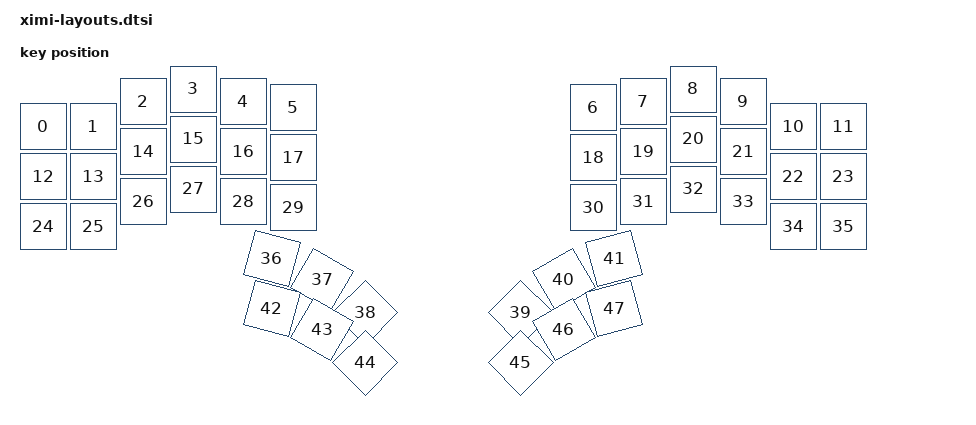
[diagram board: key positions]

#include <physical_layouts.dtsi>

/ {
    ximi_6col_layout: ximi_6col_layout {
        compatible = "zmk,physical-layout";
        display-name = "6 Column";

        keys  //                     w   h    x    y     rot    rx    ry
            = <&key_physical_attrs 100 100    0   75       0     0     0>
            , <&key_physical_attrs 100 100  100   75       0     0     0>
            , <&key_physical_attrs 100 100  200   25       0     0     0>
            , <&key_physical_attrs 100 100  300    0       0     0     0>
            , <&key_physical_attrs 100 100  400   25       0     0     0>
            , <&key_physical_attrs 100 100  500   37       0     0     0>
            , <&key_physical_attrs 100 100 1100   37       0     0     0>
            , <&key_physical_attrs 100 100 1200   25       0     0     0>
            , <&key_physical_attrs 100 100 1300    0       0     0     0>
            , <&key_physical_attrs 100 100 1400   25       0     0     0>
            , <&key_physical_attrs 100 100 1500   75       0     0     0>
            , <&key_physical_attrs 100 100 1600   75       0     0     0>
            , <&key_physical_attrs 100 100    0  175       0     0     0>
            , <&key_physical_attrs 100 100  100  175       0     0     0>
            , <&key_physical_attrs 100 100  200  125       0     0     0>
            , <&key_physical_attrs 100 100  300  100       0     0     0>
            , <&key_physical_attrs 100 100  400  125       0     0     0>
            , <&key_physical_attrs 100 100  500  137       0     0     0>
            , <&key_physical_attrs 100 100 1100  137       0     0     0>
            , <&key_physical_attrs 100 100 1200  125       0     0     0>
            , <&key_physical_attrs 100 100 1300  100       0     0     0>
            , <&key_physical_attrs 100 100 1400  125       0     0     0>
            , <&key_physical_attrs 100 100 1500  175       0     0     0>
            , <&key_physical_attrs 100 100 1600  175       0     0     0>
            , <&key_physical_attrs 100 100    0  275       0     0     0>
            , <&key_physical_attrs 100 100  100  275       0     0     0>
            , <&key_physical_attrs 100 100  200  225       0     0     0>
            , <&key_physical_attrs 100 100  300  200       0     0     0>
            , <&key_physical_attrs 100 100  400  225       0     0     0>
            , <&key_physical_attrs 100 100  500  237       0     0     0>
            , <&key_physical_attrs 100 100 1100  237       0     0     0>
            , <&key_physical_attrs 100 100 1200  225       0     0     0>
            , <&key_physical_attrs 100 100 1300  200       0     0     0>
            , <&key_physical_attrs 100 100 1400  225       0     0     0>
            , <&key_physical_attrs 100 100 1500  275       0     0     0>
            , <&key_physical_attrs 100 100 1600  275       0     0     0>
            , <&key_physical_attrs 100 100  350  325    1500   400   792>
            , <&key_physical_attrs 100 100  350  325    3000   400   792>
            , <&key_physical_attrs 100 100  350  325    4500   400   792>
            , <&key_physical_attrs 100 100 1250  325 (-4500)  1300   792>
            , <&key_physical_attrs 100 100 1250  325 (-3000)  1300   792>
            , <&key_physical_attrs 100 100 1250  325 (-1500)  1300   792>
            , <&key_physical_attrs 100 100  350  425    1500   400   892>
            , <&key_physical_attrs 100 100  350  425    3000   400   892>
            , <&key_physical_attrs 100 100  350  425    4500   400   892>
            , <&key_physical_attrs 100 100 1250  425 (-4500)  1300   892>
            , <&key_physical_attrs 100 100 1250  425 (-3000)  1300   892>
            , <&key_physical_attrs 100 100 1250  425 (-1500)  1300   892>
            ;
    };
};
